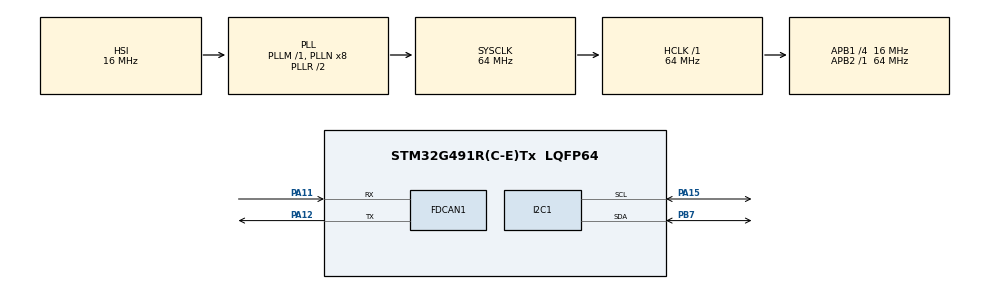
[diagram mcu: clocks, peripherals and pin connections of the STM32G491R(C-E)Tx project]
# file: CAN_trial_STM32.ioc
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FDCAN1.CalculateBaudRateNominal=250000
FDCAN1.CalculateTimeBitNominal=4000
FDCAN1.CalculateTimeQuantumNominal=250.0
FDCAN1.NominalPrescaler=4
FDCAN1.NominalTimeSeg1=13
FDCAN1.NominalTimeSeg2=2
I2C1.Timing=0x00503D58
Mcu.Family=STM32G4
Mcu.Name=STM32G491R(C-E)Tx
Mcu.Package=LQFP64
NUCLEO-G491RE.BUTTON=1
NUCLEO-G491RE.LD2=true
NUCLEO-G491RE.VCP=true
NVIC.EXTI15_10_IRQn=true\:0\:0\:false\:false\:true\:false\:true\:true
NVIC.FDCAN1_IT0_IRQn=true\:0\:0\:false\:false\:true\:true\:true\:true
NVIC.FDCAN1_IT1_IRQn=true\:0\:0\:false\:false\:true\:true\:true\:true
NVIC.PriorityGroup=NVIC_PRIORITYGROUP_4
PA11.Mode=FDCAN_Activate
PA11.Signal=FDCAN1_RX
PA12.Mode=FDCAN_Activate
PA12.Signal=FDCAN1_TX
PA13.GPIO_Label=T_SWDIO
PA13.Signal=SYS_JTMS-SWDIO
PA14.GPIO_Label=T_SWCLK
PA14.Signal=SYS_JTCK-SWCLK
PA15.Mode=I2C
PA15.Signal=I2C1_SCL
PA2.Signal=LPUART1_TX
PA3.Signal=LPUART1_RX
PB3.GPIO_Label=T_SWO
PB3.Signal=SYS_JTDO-SWO
PB7.Mode=I2C
PB7.Signal=I2C1_SDA
PC14-OSC32_IN.GPIO_Label=RCC_OSC32_IN
PC14-OSC32_IN.Signal=RCC_OSC32_IN
PC15-OSC32_OUT.GPIO_Label=RCC_OSC32_OUT
PC15-OSC32_OUT.Signal=RCC_OSC32_OUT
PF0-OSC_IN.GPIO_Label=RCC_OSC_IN
PF0-OSC_IN.Signal=RCC_OSC_IN
PF1-OSC_OUT.GPIO_Label=RCC_OSC_OUT
PF1-OSC_OUT.Signal=RCC_OSC_OUT
ProjectManager.HeapSize=0x200
ProjectManager.StackSize=0x400
ProjectManager.TargetToolchain=STM32CubeIDE
RCC.ADC12Freq_Value=64000000
RCC.ADC345Freq_Value=64000000
RCC.AHBFreq_Value=64000000
RCC.APB1CLKDivider=RCC_HCLK_DIV4
RCC.APB1Freq_Value=16000000
RCC.APB1TimFreq_Value=32000000
RCC.APB2Freq_Value=64000000
RCC.APB2TimFreq_Value=64000000
RCC.CortexFreq_Value=64000000
RCC.EXTERNAL_CLOCK_VALUE=12288000
RCC.HCLKFreq_Value=64000000
RCC.HSE_VALUE=24000000
RCC.HSI48_VALUE=48000000
RCC.HSI_VALUE=16000000
RCC.LSE_VALUE=32768
RCC.RTCClockSelection=RCC_RTCCLKSOURCE_LSE
RCC.SYSCLKFreq_VALUE=64000000
RCC.SYSCLKSource=RCC_SYSCLKSOURCE_PLLCLK
RCC.USBFreq_Value=48000000
RCC.VCOOutputFreq_Value=128000000
VP_NUCLEO-G491RE_VS_BSP_COMMON.Mode=COMMON
VP_SYS_VS_DBSignals.Mode=DisableDeadBatterySignals
board=NUCLEO-G491RE

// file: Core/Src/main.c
/* USER CODE BEGIN Header */
/**
  ******************************************************************************
  * @file           : main.c
  * @brief          : Main program body
  ******************************************************************************
  * @attention
  *
  * Copyright (c) 2026 STMicroelectronics.
  * All rights reserved.
  *
  * This software is licensed under terms that can be found in the LICENSE file
  * in the root directory of this software component.
  * If no LICENSE file comes with this software, it is provided AS-IS.
  *
  ******************************************************************************
  */
/* USER CODE END Header */
#include "main.h"
#include "string.h"

/* USER CODE BEGIN Includes */
extern UART_HandleTypeDef hcom_uart[];

/* USER CODE END Includes */

COM_InitTypeDef BspCOMInit;
FDCAN_HandleTypeDef hfdcan1;

I2C_HandleTypeDef hi2c1;

void SystemClock_Config(void);
static void MX_GPIO_Init(void);
static void MX_FDCAN1_Init(void);
static void MX_I2C1_Init(void);
/* USER CODE BEGIN PFP */
static void CAN_TRANSMIT_MESSAGE(void);
HAL_StatusTypeDef MCP9808_ReadTemp_x100(uint16_t addr, int16_t *temp_x100);

/* USER CODE END PFP */

/* USER CODE BEGIN 0 */
#define MCP9808_ADDR        (0x18 << 1)
#define MCP9808_ADDR_2        (0x19 << 1) // Adding the second sensor
#define MCP9808_REG_TEMP 0x05 //Defining the Register address inside the sensor
/* USER CODE END 0 */

int main(void)
{

  /* MCU Configuration--------------------------------------------------------*/

  /* Reset of all peripherals, Initializes the Flash interface and the Systick. */
  HAL_Init();

  /* Configure the system clock */
  SystemClock_Config();

  /* Initialize all configured peripherals */
  MX_GPIO_Init();
  MX_FDCAN1_Init();
  MX_I2C1_Init();
  /* USER CODE BEGIN 2 */
  HAL_FDCAN_Start(&hfdcan1);
  HAL_FDCAN_ActivateNotification(&hfdcan1,FDCAN_IT_TX_COMPLETE,FDCAN_TX_BUFFER0 | FDCAN_TX_BUFFER1 | FDCAN_TX_BUFFER2  );
  HAL_FDCAN_ActivateNotification(&hfdcan1, FDCAN_IT_ERROR_PASSIVE | FDCAN_IT_BUS_OFF | FDCAN_IT_ERROR_WARNING, 0);

  /* USER CODE END 2 */

  /* Initialize led */
  BSP_LED_Init(LED_GREEN);

  /* Initialize USER push-button, will be used to trigger an interrupt each time it's pressed.*/
  BSP_PB_Init(BUTTON_USER, BUTTON_MODE_EXTI);

  /* Initialize COM1 port (115200, 8 bits (7-bit data + 1 stop bit), no parity */
  BspCOMInit.BaudRate   = 115200;
  BspCOMInit.WordLength = COM_WORDLENGTH_8B;
  BspCOMInit.StopBits   = COM_STOPBITS_1;
  BspCOMInit.Parity     = COM_PARITY_NONE;
  BspCOMInit.HwFlowCtl  = COM_HWCONTROL_NONE;
  if (BSP_COM_Init(COM1, &BspCOMInit) != BSP_ERROR_NONE)
  {
    Error_Handler();
  }

  if (HAL_I2C_IsDeviceReady(&hi2c1, MCP9808_ADDR, 3, 100) == HAL_OK)
  {
	  char msg1[]=" S 1 available \r \n";
	  	    	 	    	  	HAL_UART_Transmit(&hcom_uart[COM1],(uint8_t*)msg1,sizeof(msg1)-1,100); //Doing serial print
  }
  else
  {
	  char msg2[]=" S 1 unavailable\r \n";
	  	    	 	    	  	HAL_UART_Transmit(&hcom_uart[COM1],(uint8_t*)msg2,sizeof(msg2)-1,100); //Doing serial print
  }

  if (HAL_I2C_IsDeviceReady(&hi2c1, MCP9808_ADDR_2, 3, 100) == HAL_OK)
  {
	  char msg1[]=" S 2 available \r \n";
	  	  	    	 	    	  	HAL_UART_Transmit(&hcom_uart[COM1],(uint8_t*)msg1,sizeof(msg1)-1,100); //Doing serial print
  }
  else
  {
	  char msg2[]=" S 2 unavailable \r \n";
	  	  	    	 	    	  	HAL_UART_Transmit(&hcom_uart[COM1],(uint8_t*)msg2,sizeof(msg2)-1,100); //Doing serial print
  }

  char msg2[]=" Scanning the bus \r \n";
 	  	  	    	 	    	  	HAL_UART_Transmit(&hcom_uart[COM1],(uint8_t*)msg2,sizeof(msg2)-1,100); //Doing serial print

  for (uint8_t addr = 1; addr < 128; addr++)
  {
      if (HAL_I2C_IsDeviceReady(&hi2c1, (addr << 1), 3, 100) == HAL_OK)
      {
          char msg[40];
          snprintf(msg, sizeof(msg), "Found device at 0x%02X\r\n", addr);
          HAL_UART_Transmit(&hcom_uart[COM1], (uint8_t*)msg, strlen(msg), 100);
      }

  }
  char scanDone[] = "Scan complete, entering main loop\r\n";
  HAL_UART_Transmit(&hcom_uart[COM1], (uint8_t*)scanDone, strlen(scanDone)-1, 100);

  /* Infinite loop */
  while (1)
  {

    /* USER CODE BEGIN 3 */
	  CAN_TRANSMIT_MESSAGE();
	  HAL_Delay(500);
  }
  /* USER CODE END 3 */
}

void SystemClock_Config(void)
{
  RCC_OscInitTypeDef RCC_OscInitStruct = {0};
  RCC_ClkInitTypeDef RCC_ClkInitStruct = {0};

  /** Configure the main internal regulator output voltage
  */
  HAL_PWREx_ControlVoltageScaling(PWR_REGULATOR_VOLTAGE_SCALE1);

  /** Initializes the RCC Oscillators according to the specified parameters
  * in the RCC_OscInitTypeDef structure.
  */
  RCC_OscInitStruct.OscillatorType = RCC_OSCILLATORTYPE_HSI;
  RCC_OscInitStruct.HSIState = RCC_HSI_ON;
  RCC_OscInitStruct.HSICalibrationValue = RCC_HSICALIBRATION_DEFAULT;
  RCC_OscInitStruct.PLL.PLLState = RCC_PLL_ON;
  RCC_OscInitStruct.PLL.PLLSource = RCC_PLLSOURCE_HSI;
  RCC_OscInitStruct.PLL.PLLM = RCC_PLLM_DIV1;
  RCC_OscInitStruct.PLL.PLLN = 8;
  RCC_OscInitStruct.PLL.PLLP = RCC_PLLP_DIV2;
  RCC_OscInitStruct.PLL.PLLQ = RCC_PLLQ_DIV2;
  RCC_OscInitStruct.PLL.PLLR = RCC_PLLR_DIV2;
  if (HAL_RCC_OscConfig(&RCC_OscInitStruct) != HAL_OK)
  {
    Error_Handler();
  }

  /** Initializes the CPU, AHB and APB buses clocks
  */
  RCC_ClkInitStruct.ClockType = RCC_CLOCKTYPE_HCLK|RCC_CLOCKTYPE_SYSCLK
                              |RCC_CLOCKTYPE_PCLK1|RCC_CLOCKTYPE_PCLK2;
  RCC_ClkInitStruct.SYSCLKSource = RCC_SYSCLKSOURCE_PLLCLK;
  RCC_ClkInitStruct.AHBCLKDivider = RCC_SYSCLK_DIV1;
  RCC_ClkInitStruct.APB1CLKDivider = RCC_HCLK_DIV4;
  RCC_ClkInitStruct.APB2CLKDivider = RCC_HCLK_DIV1;

  if (HAL_RCC_ClockConfig(&RCC_ClkInitStruct, FLASH_LATENCY_2) != HAL_OK)
  {
    Error_Handler();
  }
}

static void MX_FDCAN1_Init(void)
{

  hfdcan1.Instance = FDCAN1;
  hfdcan1.Init.ClockDivider = FDCAN_CLOCK_DIV1;
  hfdcan1.Init.FrameFormat = FDCAN_FRAME_CLASSIC;
  hfdcan1.Init.Mode = FDCAN_MODE_NORMAL;
  hfdcan1.Init.AutoRetransmission = DISABLE;
  hfdcan1.Init.TransmitPause = DISABLE;
  hfdcan1.Init.ProtocolException = DISABLE;
  hfdcan1.Init.NominalPrescaler = 4;
  hfdcan1.Init.NominalSyncJumpWidth = 1;
  hfdcan1.Init.NominalTimeSeg1 = 13;
  hfdcan1.Init.NominalTimeSeg2 = 2;
  hfdcan1.Init.DataPrescaler = 1;
  hfdcan1.Init.DataSyncJumpWidth = 1;
  hfdcan1.Init.DataTimeSeg1 = 1;
  hfdcan1.Init.DataTimeSeg2 = 1;
  hfdcan1.Init.StdFiltersNbr = 0;
  hfdcan1.Init.ExtFiltersNbr = 0;
  hfdcan1.Init.TxFifoQueueMode = FDCAN_TX_FIFO_OPERATION;
  if (HAL_FDCAN_Init(&hfdcan1) != HAL_OK)
  {
    Error_Handler();
  }

}

static void MX_I2C1_Init(void)
{

  hi2c1.Instance = I2C1;
  hi2c1.Init.Timing = 0x00503D58;
  hi2c1.Init.OwnAddress1 = 0;
  hi2c1.Init.AddressingMode = I2C_ADDRESSINGMODE_7BIT;
  hi2c1.Init.DualAddressMode = I2C_DUALADDRESS_DISABLE;
  hi2c1.Init.OwnAddress2 = 0;
  hi2c1.Init.OwnAddress2Masks = I2C_OA2_NOMASK;
  hi2c1.Init.GeneralCallMode = I2C_GENERALCALL_DISABLE;
  hi2c1.Init.NoStretchMode = I2C_NOSTRETCH_DISABLE;
  if (HAL_I2C_Init(&hi2c1) != HAL_OK)
  {
    Error_Handler();
  }

  /** Configure Analogue filter
  */
  if (HAL_I2CEx_ConfigAnalogFilter(&hi2c1, I2C_ANALOGFILTER_ENABLE) != HAL_OK)
  {
    Error_Handler();
  }

  /** Configure Digital filter
  */
  if (HAL_I2CEx_ConfigDigitalFilter(&hi2c1, 0) != HAL_OK)
  {
    Error_Handler();
  }

}

static void MX_GPIO_Init(void)
{

  /* GPIO Ports Clock Enable */
  __HAL_RCC_GPIOC_CLK_ENABLE();
  __HAL_RCC_GPIOF_CLK_ENABLE();
  __HAL_RCC_GPIOA_CLK_ENABLE();
  __HAL_RCC_GPIOB_CLK_ENABLE();

}

/* USER CODE BEGIN 4 */

HAL_StatusTypeDef MCP9808_ReadTemp_x100(uint16_t addr , int16_t *temp_x100)
{
    uint8_t data[2];

    HAL_StatusTypeDef status = HAL_I2C_Mem_Read(
        &hi2c1,
        addr,
        MCP9808_REG_TEMP,
        I2C_MEMADD_SIZE_8BIT,
        data,
        2,
        100
    );

    if (status != HAL_OK)
    {
        return status;
    }

    /*
     * MCP9808 temperature register:
     * data[0] bits:
     * bit 4 = sign bit
     * bits 3:0 = upper temperature bits
     * data[1] = lower temperature bits
     *
     * Raw temperature unit = 1/16 degC = 0.0625 degC
     */
    uint16_t raw = ((uint16_t)(data[0] & 0x1F) << 8) | data[1];

    // Sign extend 13-bit value
    if (raw & 0x1000)
    {
        raw |= 0xE000;
    }

    int16_t signed_raw = (int16_t)raw;

    // Convert from 1/16 degC to degC x100
    // temp_x100 = temperature * 100
    *temp_x100 = (signed_raw * 25) / 4;

    return HAL_OK;
}

static void CAN_TRANSMIT_MESSAGE()
{
	FDCAN_TxHeaderTypeDef TxHeader;
	TxHeader.Identifier= 0x786;
	TxHeader.IdType= FDCAN_STANDARD_ID;
	TxHeader.TxFrameType= FDCAN_DATA_FRAME;
	  TxHeader.DataLength = FDCAN_DLC_BYTES_8;
	   TxHeader.ErrorStateIndicator = FDCAN_ESI_ACTIVE;
	   TxHeader.BitRateSwitch = FDCAN_BRS_OFF;
	   TxHeader.FDFormat = FDCAN_CLASSIC_CAN;
	   TxHeader.TxEventFifoControl = FDCAN_NO_TX_EVENTS;
	   TxHeader.MessageMarker = 0;

	   //uint8_t TxData[8] = {0x11,0x22,0x33,0x44,0x55,0x66,0x77,0x88};

	   int16_t temp_1,temp_2;
	   uint8_t TxData[8]={0};

	   HAL_StatusTypeDef res1 = MCP9808_ReadTemp_x100(MCP9808_ADDR, &temp_1);
	    HAL_StatusTypeDef res2 = MCP9808_ReadTemp_x100(MCP9808_ADDR_2, &temp_2);

	      if (res1 == HAL_OK) //Sesnsor 1 and Sensor 2
	         {
	    	  char msg2[]=" Recording temperature 1\r \n";
	    	 	    	  	HAL_UART_Transmit(&hcom_uart[COM1],(uint8_t*)msg2,sizeof(msg2)-1,100); //Doing serial print

	    	 	    	   TxData[0] = (temp_1>>8) & 0xFF; 	//Sensor 1 upper byte
	    	 	    	   TxData[1] = (temp_1) & 0xFF;  		// Sensor 1 lower byte

	         }
	      else
	      {
	          char err1[40];
	          snprintf(err1, sizeof(err1), "Sensor 1 FAILED, status=%d\r\n", res1);
	          HAL_UART_Transmit(&hcom_uart[COM1], (uint8_t*)err1, strlen(err1), 100);
	      }

	    	  if(res2 == HAL_OK)
		{
	    	  	  char msg[]=" Recording temperature 2\r \n";
	    	  	HAL_UART_Transmit(&hcom_uart[COM1],(uint8_t*)msg,sizeof(msg)-1,100); //Doing serial print

	    	  			TxData[2] = (temp_2>>8) & 0xFF; 	//Upper part of the CAN frame.
	    	  			TxData[3] = (temp_2) & 0xFF;  		//Lower part of the CAN frame.
	         }
	    	    else
	    	    {
	    	        char err2[40];
	    	        snprintf(err2, sizeof(err2), "Sensor 2 FAILED, status=%d\r\n", res2);
	    	        HAL_UART_Transmit(&hcom_uart[COM1], (uint8_t*)err2, strlen(err2), 100);
	    	    }

	   if (HAL_FDCAN_AddMessageToTxFifoQ(&hfdcan1, &TxHeader, TxData) != HAL_OK) //Message is added to FIFOQueue
	   	{																		//If condition to see if the Queue is full or not.
	   	    BSP_LED_On(LED_GREEN);   // stays on if a send ever fails
	   	}

}

void HAL_FDCAN_TxBufferCompleteCallback(FDCAN_HandleTypeDef *hfdcan,uint32_t BufferIndexes)
{
	char msg[]="CAN message ACK \r \n";
	HAL_UART_Transmit(&hcom_uart[COM1],(uint8_t*)msg,sizeof(msg)-1,100); //Doing serial print
	BSP_LED_Toggle(LED_GREEN);
}
void HAL_FDCAN_ErrorStatusCallback(FDCAN_HandleTypeDef *hfdcan, uint32_t ErrorStatusITs)
{
	char msg[] = "CAN ERROR - no ACK / bus issue\n";
	HAL_UART_Transmit(&hcom_uart[COM1], (uint8_t*)msg, sizeof(msg)-1, 100);
}
/* USER CODE END 4 */

void Error_Handler(void)
{
  __disable_irq();
  while (1)
  {
  }
}
